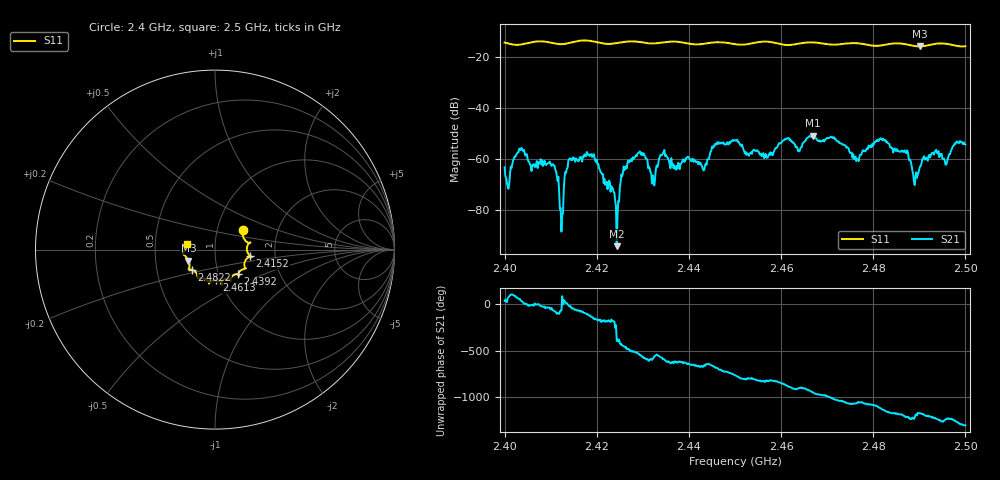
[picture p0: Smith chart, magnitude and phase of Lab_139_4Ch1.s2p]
# Hz S RI R 50
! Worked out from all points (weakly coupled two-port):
!   601 points, 2.4 GHz to 2.5 GHz, reference 50 ohm
!   highest |S21| = -50.96 dB at 2.4668 GHz (marker M1); lowest = -94.2 dB at 2.4243 GHz (marker M2)
!   lowest |S11| = -15.9 dB at 2.4902 GHz (marker M3), VSWR 1.38, Z = 36.9 - j4.62 ohm
!   |S11| at or under -10 dB: start of sweep to end of sweep
!   S12 and S22 are empty: the file has one direction only
!   S11 on the Smith chart (normalised r, x): 2.4 GHz: 1.33, +0.31; 2.4152 GHz: 1.48, -0.11; 2.4392 GHz: 1.23, -0.35; 2.4613 GHz: 0.96, -0.34; 2.4822 GHz: 0.76, -0.17; 2.5 GHz: 0.73, +0.05
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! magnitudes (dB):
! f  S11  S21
! 2.4 GHz  -14.4  -63.3
! 2.4037 GHz  -15.1  -55.7
! 2.4102 GHz  -14.5  -62.7
! 2.4123 GHz  -15.0  -88.5
! 2.4137 GHz  -14.7  -63.5
! 2.4152 GHz  -14.0  -59.7
! 2.4167 GHz  -13.6  -59.4
! 2.4195 GHz  -14.0  -59.3
! 2.4243 GHz  -14.6  -94.2
! 2.4273 GHz  -13.9  -61.0
! 2.4333 GHz  -14.6  -62.1
! 2.4392 GHz  -14.6  -60.8
! 2.45 GHz  -15.0  -52.6
! 2.4568 GHz  -14.0  -59.5
! 2.4613 GHz  -15.4  -51.9
! 2.4667 GHz  -14.3  -51.2
! 2.4668 GHz  -14.3  -51.0
! 2.4763 GHz  -14.6  -60.9
! 2.4822 GHz  -15.4  -52.1
! 2.4833 GHz  -15.0  -54.0
! 2.4902 GHz  -15.9  -62.9
! 2.5 GHz  -15.8  -54.4
